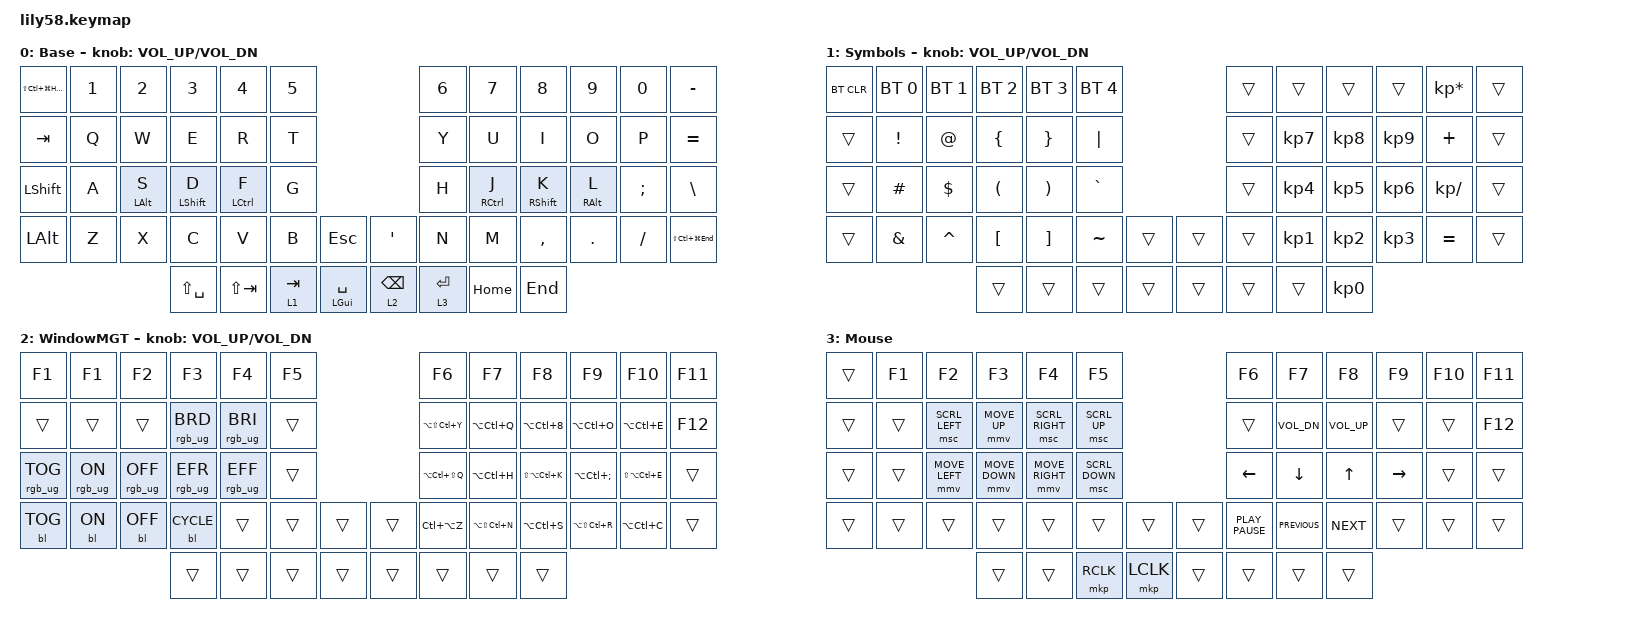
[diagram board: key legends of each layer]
/*
 * Copyright (c) 2020 The ZMK Contributors
 *
 * SPDX-License-Identifier: MIT
 */

#include <behaviors.dtsi>
#include <dt-bindings/zmk/backlight.h>
#include <dt-bindings/zmk/bt.h>
#include <dt-bindings/zmk/keys.h>
#include <dt-bindings/zmk/pointing.h>
#include <dt-bindings/zmk/rgb.h>

/ {
    behaviors {
        hold_or_tap: hold_or_tap {
            compatible = "zmk,behavior-hold-tap";
            label = "HOLD_OR_TAP";
            bindings = <&kp>, <&kp>;

            #binding-cells = <2>;
            tapping-term-ms = <200>;
            flavor = "tap-preferred";
        };
    };

    combos {
        compatible = "zmk,combos";

        tmux_next_window {
            bindings = <&tmux_next_window>;
            key-positions = <19 20 21>;
        };

        tmux_split_horizontally {
            bindings = <&tmux_split_horizontally>;
            key-positions = <32 31 33>;
        };

        tmux_split_vertically {
            bindings = <&tmux_split_vertically>;
            key-positions = <45 46 47>;
        };

        grave_replacement {
            bindings = <&kp GRAVE>;
            key-positions = <16 17>;
        };

        tmux_zoom_toggle {
            bindings = <&tmux_zoom_toggle>;
            key-positions = <14 15 16>;
        };

        backspace {
            bindings = <&kp BACKSPACE>;
            key-positions = <20 21>;
        };

        copy {
            bindings = <&kp LC(C)>;
            key-positions = <39 40>;
        };

        paste {
            bindings = <&kp LC(V)>;
            key-positions = <40 41>;
        };

        undo_ctrl_z {
            bindings = <&kp LC(Z)>;
            key-positions = <37 38>;
        };

        cut_ctrl_x {
            bindings = <&kp LC(X)>;
            key-positions = <38 39>;
        };

        enter {
            bindings = <&kp ENTER>;
            key-positions = <32 31>;
        };

        tab {
            bindings = <&kp TAB>;
            key-positions = <27 28>;
        };

        shift_tab {
            bindings = <&kp LS(TAB)>;
            key-positions = <27 26>;
        };
    };

    macros {
        tmux_next_window: tmux_next_window {
            compatible = "zmk,behavior-macro";
            #binding-cells = <0>;
            bindings = <&macro_tap>, <&kp LC(A) &kp N>;

            label = "TMUX_NEXT_WINDOW";
        };

        tmux_split_horizontally: tmux_split_horizontally {
            compatible = "zmk,behavior-macro";
            #binding-cells = <0>;
            bindings = <&macro_tap>, <&kp LC(A) &kp DOUBLE_QUOTES>;

            label = "TMUX_SPLIT_HORIZONTALLY";
        };

        tmux_split_vertically: tmux_split_vertically {
            compatible = "zmk,behavior-macro";
            #binding-cells = <0>;
            bindings = <&macro_tap>, <&kp LC(A) &kp LS(N5)>;

            label = "TMUX_SPLIT_VERTICALLY";
        };

        better_task_switcher: better_task_switcher {
            compatible = "zmk,behavior-macro";
            #binding-cells = <0>;
            bindings = <&macro_press>, <&kp LGUI>, <&macro_tap>, <&kp TAB>;

            label = "BETTER_TASK_SWITCHER";
        };

        better_task_switcher_shifted: better_task_switcher_shifted {
            compatible = "zmk,behavior-macro";
            #binding-cells = <0>;
            bindings = <&macro_press>, <&kp LGUI>, <&macro_tap>, <&kp LS(TAB)>;

            label = "BETTER_TASK_SWITCHER_SHIFTED";
        };

        tmux_zoom_toggle: tmux_zoom_toggle {
            compatible = "zmk,behavior-macro";
            #binding-cells = <0>;
            bindings = <&macro_tap>, <&kp LC(A) &kp Z>;

            label = "TMUX_ZOOM_TOGGLE";
        };
    };

    keymap {
        compatible = "zmk,keymap";

        default_layer {
            // ------------------------------------------------------------------------------------------------------------
            // |  ESC  |  1  |  2  |  3   |  4   |  5   |                   |  6   |  7    |  8    |  9   |   0   |   `   |
            // |  TAB  |  Q  |  W  |  E   |  R   |  T   |                   |  Y   |  U    |  I    |  O   |   P   |   -   |
            // |  CTRL |  A  |  S  |  D   |  F   |  G   |                   |  H   |  J    |  K    |  L   |   ;   |   '   |
            // | SHIFT |  Z  |  X  |  C   |  V   |  B   |   "["  |  |  "]"  |  N   |  M    |  ,    |  .   |   /   | SHIFT |
            //                     | ALT  | GUI  | LOWER|  SPACE |  | ENTER | RAISE| BSPC  | GUI   |

            display-name = "Base";
            bindings = <
&kp LS(LC(LG(HOME)))  &kp N1  &kp N2                   &kp N3                     &kp N4                       &kp N5                                                  &kp N6       &kp N7                        &kp N8                 &kp N9                    &kp N0    &kp MINUS
&kp TAB               &kp Q   &kp W                    &kp E                      &kp R                        &kp T                                                   &kp Y        &kp U                         &kp I                  &kp O                     &kp P     &kp EQUAL
&kp LEFT_SHIFT        &kp A   &hold_or_tap LEFT_ALT S  &hold_or_tap LEFT_SHIFT D  &hold_or_tap LEFT_CONTROL F  &kp G                                                   &kp H        &hold_or_tap RIGHT_CONTROL J  &hold_or_tap RSHIFT K  &hold_or_tap RIGHT_ALT L  &kp SEMI  &kp BACKSLASH
&kp LEFT_ALT          &kp Z   &kp X                    &kp C                      &kp V                        &kp B      &kp ESC                    &kp SINGLE_QUOTE  &kp N        &kp M                         &kp COMMA              &kp DOT                   &kp FSLH  &kp LS(LC(LG(END)))
                                                       &kp LS(SPACE)              &kp LS(TAB)                  &lt 1 TAB  &hold_or_tap LGUI SPACE    &lt 2 BACKSPACE   &lt 3 ENTER  &kp HOME                      &kp END
            >;

            sensor-bindings = <&inc_dec_kp C_VOL_UP C_VOL_DN>;
        };

        symbols {
            // ------------------------------------------------------------------------------------------------------------
            // | BTCLR | BT1 | BT2 |  BT3 |  BT4 |  BT5 |                   |      |       |       |      |       |       |
            // |  F1   |  F2 |  F3 |  F4  |  F5  |  F6  |                   |  F7  |  F8   |  F9   |  F10 |  F11  |  F12  |
            // |   `   |  !  |  @  |  #   |  $   |  %   |                   |  ^   |  &    |  *    |  (   |   )   |   ~   |
            // |       |     |     |      |      |      |        |  |       |      |  _    |  +    |  {   |   }   |  "|"  |
            //                     |      |      |      |        |  |       |      |       |       |

            display-name = "Symbols";
            bindings = <
&bt BT_CLR  &bt BT_SEL 0     &bt BT_SEL 1  &bt BT_SEL 2          &bt BT_SEL 3           &bt BT_SEL 4                    &trans  &trans           &trans           &trans           &kp KP_MULTIPLY  &trans
&trans      &kp EXCLAMATION  &kp AT_SIGN   &kp LEFT_BRACE        &kp RIGHT_BRACE        &kp PIPE                        &trans  &kp KP_NUMBER_7  &kp KP_NUMBER_8  &kp KP_NUMBER_9  &kp PLUS         &trans
&trans      &kp HASH         &kp DOLLAR    &kp LEFT_PARENTHESIS  &kp RIGHT_PARENTHESIS  &kp GRAVE                       &trans  &kp KP_NUMBER_4  &kp KP_NUMBER_5  &kp KP_NUMBER_6  &kp KP_SLASH     &trans
&trans      &kp AMPERSAND    &kp CARET     &kp LEFT_BRACKET      &kp RIGHT_BRACKET      &kp TILDE     &trans    &trans  &trans  &kp KP_NUMBER_1  &kp KP_NUMBER_2  &kp KP_NUMBER_3  &kp EQUAL        &trans
                                           &trans                &trans                 &trans        &trans    &trans  &trans  &trans           &kp KP_NUMBER_0
            >;

            sensor-bindings = <&inc_dec_kp C_VOL_UP C_VOL_DN>;
        };

        window_mgt {
            // ------------------------------------------------------------------------------------------------------------
            // |       |     |     |      |      |      |                   |      |       |       |      |       |       |
            // |   `   |  1  |  2  |  3   |  4   |  5   |                   |  6   |   7   |   8   |  9   |   0   |       |
            // |   F1  |  F2 |  F3 |  F4  |  F5  |  F6  |                   |      |   <-  |   v   |  ^   |  ->   |       |
            // |   F7  |  F8 |  F9 |  F10 |  F11 |  F12 |        |  |       |  +   |   -   |   =   |  [   |   ]   |   \   |
            //                     |      |      |      |        |  |       |      |       |       |

            display-name = "WindowMGT";
            bindings = <
&kp F1           &kp F1          &kp F2           &kp F3           &kp F4           &kp F5                    &kp F6             &kp F7             &kp F8             &kp F9             &kp F10            &kp F11
&trans           &trans          &trans           &rgb_ug RGB_BRD  &rgb_ug RGB_BRI  &trans                    &kp LA(LS(LC(Y)))  &kp LA(LC(Q))      &kp LA(LC(N8))     &kp LA(LC(O))      &kp LA(LC(E))      &kp F12
&rgb_ug RGB_TOG  &rgb_ug RGB_ON  &rgb_ug RGB_OFF  &rgb_ug RGB_EFR  &rgb_ug RGB_EFF  &trans                    &kp LA(LC(LS(Q)))  &kp LA(LC(H))      &kp LS(LA(LC(K)))  &kp LA(LC(SEMI))   &kp LS(LA(LC(E)))  &trans
&bl BL_TOG       &bl BL_ON       &bl BL_OFF       &bl BL_CYCLE     &trans           &trans  &trans    &trans  &kp LC(LA(Z))      &kp LA(LS(LC(N)))  &kp LA(LC(S))      &kp LA(LS(LC(R)))  &kp LA(LC(C))      &trans
                                                  &trans           &trans           &trans  &trans    &trans  &trans             &trans             &trans
            >;

            sensor-bindings = <&inc_dec_kp C_VOL_UP C_VOL_DN>;
        };

        mouse {
            // ------------------------------------------------------------------------------------------------------------
            // |       |     |     |      |      |      |                   |      |       |       |      |       |       |
            // |   `   |  1  |  2  |  3   |  4   |  5   |                   |  6   |   7   |   8   |  9   |   0   |       |
            // |   F1  |  F2 |  F3 |  F4  |  F5  |  F6  |                   |      |   <-  |   v   |  ^   |  ->   |       |
            // |   F7  |  F8 |  F9 |  F10 |  F11 |  F12 |        |  |       |  +   |   -   |   =   |  [   |   ]   |   \   |
            //                     |      |      |      |        |  |       |      |       |       |

            display-name = "Mouse";
            bindings = <
&trans  &kp F1  &kp F2          &kp F3          &kp F4           &kp F5                               &kp F6            &kp F7          &kp F8           &kp F9     &kp F10  &kp F11
&trans  &trans  &msc SCRL_LEFT  &mmv MOVE_UP    &msc SCRL_RIGHT  &msc SCRL_UP                         &trans            &kp C_VOL_DN    &kp C_VOLUME_UP  &trans     &trans   &kp F12
&trans  &trans  &mmv MOVE_LEFT  &mmv MOVE_DOWN  &mmv MOVE_RIGHT  &msc SCRL_DOWN                       &kp LEFT          &kp DOWN        &kp UP_ARROW     &kp RIGHT  &trans   &trans
&trans  &trans  &trans          &trans          &trans           &trans          &trans       &trans  &kp K_PLAY_PAUSE  &kp K_PREVIOUS  &kp K_NEXT       &trans     &trans   &trans
                                &trans          &trans           &mkp RCLK       &mkp LCLK    &trans  &trans            &trans          &trans
            >;
        };

        extra_2 { status = "reserved"; };

        extra_3 { status = "reserved"; };
    };
};
